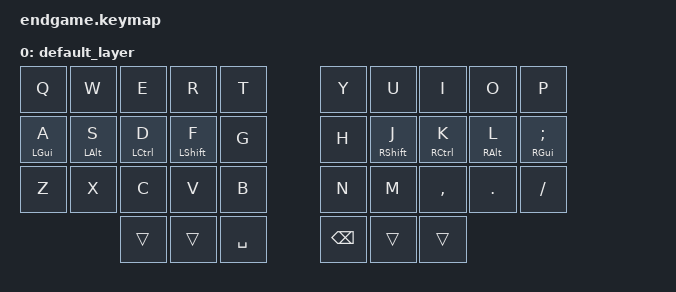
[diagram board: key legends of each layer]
#include <behaviors.dtsi>
#include <dt-bindings/zmk/keys.h>

/ {

  behaviors {
    hm: homerow_mods {
      compatible = "zmk,behavior-hold-tap";
      label = "HOMEROW_MODS";
      #binding-cells = <2>;
      tapping-term-ms = <150>;
      quick_tap_ms = <0>;
      flavor = "tap-preferred";
      bindings = <&kp>, <&kp>;
    };
  };

    keymap {
        compatible = "zmk,keymap";

        default_layer { // Layer 0
            bindings = <
&kp Q      &kp W      &kp E       &kp R        &kp T     &kp Y    &kp U        &kp I       &kp O      &kp P
&hm LGUI A &hm LALT S &hm LCTRL D &hm LSHIFT F &kp G     &kp H    &hm RSHIFT J &hm RCTRL K &hm RALT L &hm RGUI SEMI
&kp Z      &kp X      &kp C       &kp V        &kp B     &kp N    &kp M        &kp COMMA   &kp DOT    &kp FSLH
&trans                            &trans       &kp SPACE &kp BSPC &trans                              &trans
            >;
        };
    };
 };
